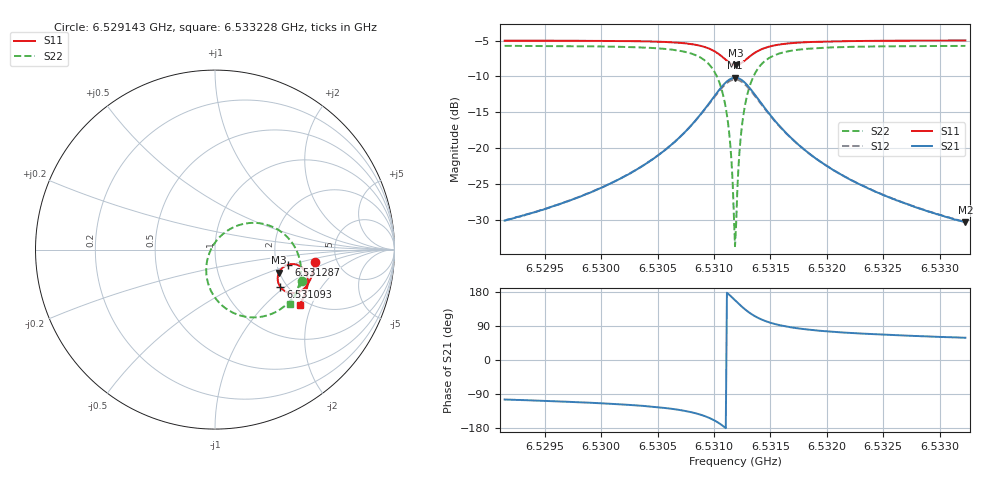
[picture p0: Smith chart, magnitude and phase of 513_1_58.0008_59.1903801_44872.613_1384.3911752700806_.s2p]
#  HZ  S  RI  R  50.00
! Rohde & Schwarz Vector Network Analyzer
! Rohde-Schwarz,ZNB20-2Port,1311601062101988,3.16
! Created: UTC 3/21/2024, 1:13:16 AM
! freq[Hz]  re:S11  im:S11  re:S21  im:S21  re:S12  im:S12  re:S22  im:S22
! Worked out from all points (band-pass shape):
!   401 points, 6.529143 GHz to 6.533228 GHz, reference 50 ohm
!   highest |S21| = -10.17 dB at 6.531185 GHz (marker M1); lowest = -30.3 dB at 6.533228 GHz (marker M2)
!   |S21| within 3 dB of the highest: 6.530983 GHz to 6.531391 GHz (408.1 kHz wide, 0.00625 % of centre)
!   lowest |S11| = -8.4 dB at 6.531196 GHz (marker M3), VSWR 2.22, Z = 99.3 - j30 ohm
!   |S11| at or under -10 dB: nowhere
!   |S22| runs from -33.6 to -5.7 dB; largest |S21 - S12| = 0.012
!   S11 on the Smith chart (normalised r, x): 6.529143 GHz: 3.40, -0.69; 6.531093 GHz: 1.84, -0.93; 6.531287 GHz: 2.32, -0.47; 6.533228 GHz: 1.82, -1.64
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6.5291428e9  0.5566 -0.0695  -0.00772 -0.0304  -0.00828 -0.0303  0.4859 -0.1736
6.5298271e9  0.5453 -0.1264  -0.0173 -0.0432  -0.0183 -0.043  0.4547 -0.2372
6.5305113e9  0.516 -0.1943  -0.0517 -0.0741  -0.0537 -0.0725  0.3721 -0.327
6.5307462e9  0.4885 -0.2239  -0.0919 -0.0932  -0.0946 -0.0901  0.2908 -0.3668
6.5309198e9  0.4441 -0.2423  -0.1606 -0.0992  -0.1628 -0.0927  0.1641 -0.3729
6.531022e9  0.3991 -0.2362  -0.2306 -0.0719  -0.2296 -0.0625  0.0458 -0.3166
6.5310934e9  0.3641 -0.2081  -0.2816 -0.0126  -0.2759 -0.00277  -0.0316 -0.2082
6.5311343e9  0.3513 -0.1797  -0.2975 0.041  -0.2884 0.0487  -0.0489 -0.1168
6.5311752e9  0.3508 -0.1459  -0.2924 0.1021  -0.2814 0.1064  -0.0305 -0.0173
6.5311854e9  0.3529 -0.1374  -0.2874 0.117  -0.2762 0.1204  -0.0198 0.00646
6.5311956e9  0.3559 -0.1293  -0.2808 0.1314  -0.2696 0.1337  -0.00674 0.029
6.5312058e9  0.3597 -0.1214  -0.2728 0.145  -0.2619 0.1464  0.00849 0.0501
6.5312262e9  0.3697 -0.1075  -0.2533 0.1694  -0.2431 0.169  0.0442 0.0867
6.5312364e9  0.3757 -0.1015  -0.2423 0.1796  -0.2324 0.1786  0.064 0.1021
6.5312569e9  0.3885 -0.0918  -0.2184 0.1965  -0.2097 0.194  0.1059 0.1258
6.5312875e9  0.4094 -0.0831  -0.1808 0.2119  -0.174 0.2086  0.1703 0.1453
6.531359e9  0.4531 -0.0836  -0.1044 0.2133  -0.101 0.2101  0.2989 0.1351
6.5314611e9  0.4909 -0.1065  -0.0389 0.1813  -0.0373 0.1796  0.4055 0.067
6.5316143e9  0.5122 -0.1433  0.000291 0.1337  0.00153 0.1331  0.4642 -0.0294
6.5318696e9  0.5165 -0.1871  0.0166 0.0871  0.0177 0.0868  0.4788 -0.1278
6.5325539e9  0.4973 -0.2578  0.0184 0.0416  0.0191 0.0415  0.4504 -0.2446
6.5332279e9  0.4708 -0.3083  0.0158 0.0261  0.0165 0.0258  0.4157 -0.3051
